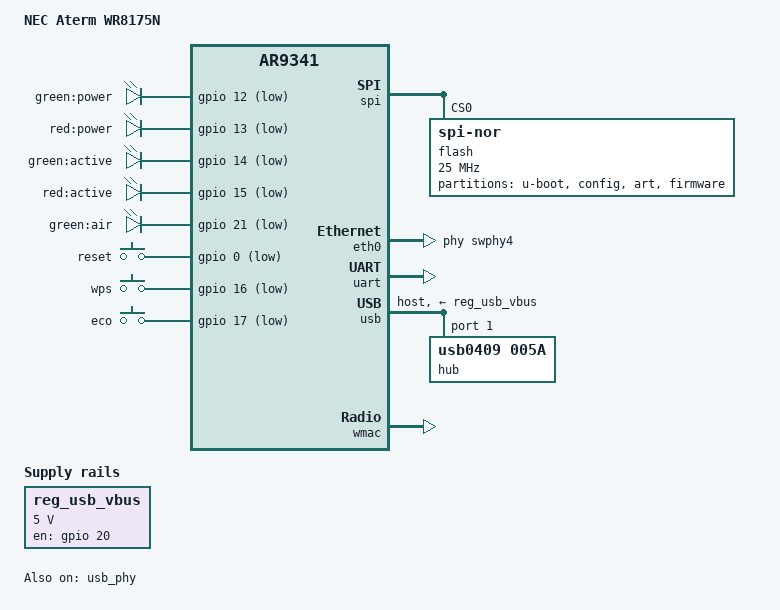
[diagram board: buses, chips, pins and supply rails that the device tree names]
// SPDX-License-Identifier: GPL-2.0-or-later OR MIT
/dts-v1/;

#include <dt-bindings/gpio/gpio.h>
#include <dt-bindings/input/input.h>

#include "ar9341.dtsi"

/ {
	compatible = "nec,wr8175n", "qca,ar9341";
	model = "NEC Aterm WR8175N";

	chosen {
		bootargs = "console=ttyS0,9600";
	};

	aliases {
		led-boot = &led_power_green;
		led-failsafe = &led_power_red;
		led-running = &led_power_green;
		led-upgrade = &led_power_green;
	};

	leds {
		compatible = "gpio-leds";

		led_power_green: power_green {
			label = "green:power";
			gpios = <&gpio 12 GPIO_ACTIVE_LOW>;
			default-state = "on";
		};

		led_power_red: power_red {
			label = "red:power";
			gpios = <&gpio 13 GPIO_ACTIVE_LOW>;
		};

		active_green {
			label = "green:active";
			gpios = <&gpio 14 GPIO_ACTIVE_LOW>;
		};

		active_red {
			label = "red:active";
			gpios = <&gpio 15 GPIO_ACTIVE_LOW>;
		};

		air {
			label = "green:air";
			gpios = <&gpio 21 GPIO_ACTIVE_LOW>;
			linux,default-trigger = "phy0tpt";
		};
	};

	keys {
		compatible = "gpio-keys";
		pinctrl-names = "default";
		pinctrl-0 = <&jtag_disable_pins>;

		reset {
			label = "reset";
			gpios = <&gpio 0 GPIO_ACTIVE_LOW>;
			linux,code = <KEY_RESTART>;
			debounce-interval = <60>;
		};

		wps {
			label = "wps";
			gpios = <&gpio 16 GPIO_ACTIVE_LOW>;
			linux,code = <KEY_WPS_BUTTON>;
			debounce-interval = <60>;
		};

		eco {
			label = "eco";
			gpios = <&gpio 17 GPIO_ACTIVE_LOW>;
			linux,code = <BTN_1>;
			debounce-interval = <60>;
		};
	};

	reg_usb_vbus: regulator {
		compatible = "regulator-fixed";

		regulator-name = "usb-vbus";
		regulator-min-microvolt = <5000000>;
		regulator-max-microvolt = <5000000>;

		gpio = <&gpio 20 GPIO_ACTIVE_HIGH>;
		enable-active-high;

		regulator-always-on;
	};
};

&ref {
	clock-frequency = <40000000>;
};

&spi {
	num-cs = <1>;
	status = "okay";

	flash@0 {
		compatible = "jedec,spi-nor";
		reg = <0>;
		spi-max-frequency = <25000000>;

		partitions {
			compatible = "fixed-partitions";
			#address-cells = <1>;
			#size-cells = <1>;

			/*
			 * OEM bootloader cannot boot OpenWrt from the flash,
			 * need to replace the bootloader to u-boot at the first
			 */
			partition@0 {
				label = "u-boot";
				reg = <0x000000 0x020000>;
			};

			/* no compatibility with u-boot */
			config: partition@20000 {
				label = "config";
				reg = <0x020000 0x010000>;
				read-only;
			};

			art: partition@30000 {
				label = "art";
				reg = <0x030000 0x010000>;
				read-only;
			};

			partition@40000 {
				compatible = "denx,uimage";
				label = "firmware";
				reg = <0x040000 0x3c0000>;
			};
		};
	};
};

&eth0 {
	status = "okay";
	pinctrl-names = "default";
	pinctrl-0 = <&swled_enable_pins2>;

	phy-handle = <&swphy4>;

	mtd-mac-address = <&config 0xc>;
};

&eth1 {
	pinctrl-names = "default";
	pinctrl-0 = <&swled_enable_pins0 &swled_enable_pins1>;

	mtd-mac-address = <&config 0x6>;
};

&pinmux {
	swled_enable_pins0: pinmux_swled_enable_pins0 {
		pinctrl-single,bits = <0x0 0x2a2b2c00 0xffffff00>;
	};

	swled_enable_pins1: pinmux_swled_enable_pins1 {
		pinctrl-single,bits = <0x4 0x29 0xff>;
	};

	swled_enable_pins2: pinmux_swled_enable_pins2 {
		pinctrl-single,bits = <0x14 0x2d0000 0xff0000>;
	};
};

&uart {
	status = "okay";
};

&usb_phy {
	status = "okay";
};

&usb {
	status = "okay";
	#address-cells = <1>;
	#size-cells = <0>;

	dr_mode = "host";
	vbus-supply = <&reg_usb_vbus>;

	hub@1 {
		compatible = "usb0409,005a";
		reg = <1>;
	};
};

&wmac {
	status = "okay";

	mtd-cal-data = <&art 0x1000>;
};
